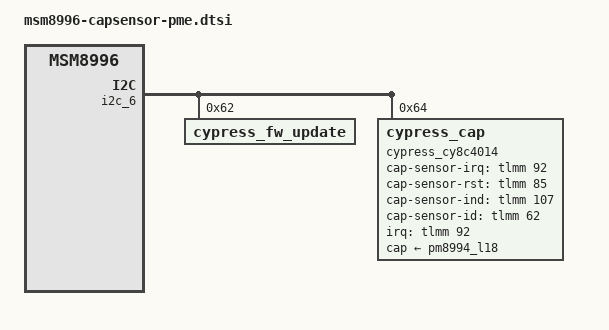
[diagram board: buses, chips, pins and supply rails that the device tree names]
#include <dt-bindings/input/input.h>

&soc {
	tlmm: pinctrl@01010000 {
		pmx_cap {
			cap_intr_active: cap_intr_active {
				mux {
					pins = "gpio92";
					function = "gpio";
				};
				config {
					pins = "gpio92";
					drive-strength = <2>;
					bias-disable;
				};
			};
			cap_intr_suspend: cap_intr_suspend {
				mux {
					pins = "gpio92";
					function = "gpio";
				};
				config {
					pins = "gpio92";
					drive-strength = <2>;
					bias-disable;
				};
			};

			cap_rst_active: cap_rst_active {
				mux {
					pins = "gpio85";
					function = "gpio";
				};
				config {
					pins = "gpio85";
					drive-strength = <2>;
					bias-disable;
					output-high;
				};
			};
			cap_rst_suspend: cap_rst_suspend {
				mux {
					pins = "gpio85";
					function = "gpio";
				};
				config {
					pins = "gpio85";
					drive-strength = <2>;
					bias-disable;
					output-high;
				};
			};

			cap_ind_active: cap_ind_active {
				mux {
					pins = "gpio107";
					function = "gpio";
				};
				config {
					pins = "gpio107";
					drive-strength = <2>;
					bias-disable;
					output-high;
				};
			};
			cap_ind_suspend: cap_ind_suspend {
				mux {
					pins = "gpio107";
					function = "gpio";
				};
				config {
					pins = "gpio107";
					drive-strength = <2>;
					bias-disable;
					output-high;
				};
			};
			cap_id_pin_active: cap_id_pin_active {
				mux {
					pins = "gpio62";
					function = "gpio";
				};
				config {
					pins = "gpio62";
					drive-strength = <2>;
					bias-pull-up;
				};
			};
			cap_id_pin_suspend: cap_id_pin_suspend {
				mux {
					pins = "gpio62";
					function = "gpio";
				};
				config {
					pins = "gpio62";
					drive-strength = <2>;
					bias-pull-down;
				};
			};
		};
	};
};

&i2c_6 {
	cypress_fw_update@62 {
		compatible = "cypress_fw_update";
		reg = <0x62>;
	};

	cypress_cy8c4014@64 {
		compatible = "cypress_cap";
		reg = <0x64>;
		interrupt-parent = <&tlmm>;
		interrupts = <92 0>;
		cap-sensor-irq = <&tlmm 92 0x00>;
		cap-sensor-rst = <&tlmm 85 0x00>;
		cap-sensor-ind = <&tlmm 107 0x00>;
		cap-sensor-id  = <&tlmm 62 0x00>; /* 0x00: High Active; 0x01 Low Active */
		cap-supply = <&pm8994_l18>;
		cap-voltage-max = <1900000>;
		cap-num = <2>;
		raw-cap = <2>;
		project-id = <0x10>;
		update-feature = <1>;
		pinctrl-names = "pmx_cap_active", "pmx_cap_suspend";
		pinctrl-0 = <&cap_intr_active &cap_rst_active &cap_ind_active &cap_id_pin_active>;
		pinctrl-1 = <&cap_intr_suspend &cap_rst_suspend &cap_ind_suspend &cap_id_pin_suspend>;

		cap-0{
			cap-id = <0>;
			keycode = <KEY_APPSELECT>;
		};
		cap-1{
			cap-id = <1>;
			keycode = <KEY_BACK>;
		};
	};
};

